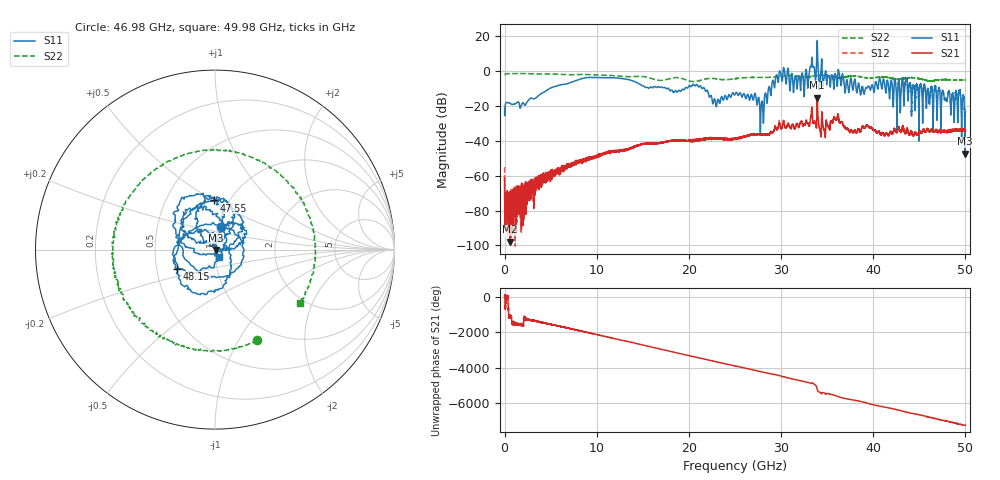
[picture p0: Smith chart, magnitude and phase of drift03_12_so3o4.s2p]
!Created with skrf (http://scikit-rf.org).
# Hz S RI R 50.0
!freq ReS11 ImS11 ReS21 ImS21 ReS12 ImS12 ReS22 ImS22
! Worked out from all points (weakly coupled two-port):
!   10001 points, 300 kHz to 50 GHz, reference 50 ohm
!   highest |S21| = -15.15 dB at 33.93 GHz (marker M1); lowest = -97.8 dB at 570.3 MHz (marker M2)
!   lowest |S11| = -47.4 dB at 49.95 GHz (marker M3), VSWR 1.01, Z = 50.4 - j0.241 ohm
!   |S11| at or under -10 dB: start of sweep to 4.849 GHz; 21.69 GHz to 28.62 GHz (6.933 GHz wide, 27.6 % of centre); 47.18 GHz to end of sweep (the widest 3 of 40)
!   |S22| runs from -5.9 to -1.3 dB; largest |S21 - S12| = 0.022
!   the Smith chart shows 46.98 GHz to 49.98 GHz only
!   S11 on the Smith chart (normalised r, x): 46.98 GHz: 1.03, +0.26; 47.55 GHz: 0.85, +0.51; 48.15 GHz: 0.64, -0.14; 49.98 GHz: 1.04, -0.09
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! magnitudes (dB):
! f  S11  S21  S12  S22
! 300 kHz  -21.5  -61.4  -55.1  -2.1
! 255.3 MHz  -17.9  -76.9  -72.2  -1.4
! 570.3 MHz  -18.4  -97.8  -73.8  -1.5
! 8.335 GHz  -4.3  -50.9  -51.3  -1.9
! 16.67 GHz  -8.8  -41.4  -41.4  -5.2
! 21.01 GHz  -8.7  -39.7  -39.3  -5.6
! 22.81 GHz  -16.1  -38.3  -38.6  -4.3
! 25 GHz  -13.4  -38.8  -38.6  -4.2
! 27.02 GHz  -15.7  -36.7  -36.3  -3.5
! 27.92 GHz  -17.1  -36.5  -36.4  -3.5
! 29.69 GHz  -6.5  -32.1  -31.7  -3.1
! 32.32 GHz  -1.5  -30.5  -30.7  -3.3
! 33.34 GHz  7.7  -20.8  -21.0  -2.9
! 33.93 GHz  17.6  -15.2  -15.5  -2.6
! 38.81 GHz  -8.9  -31.5  -31.9  -3.4
! 41.67 GHz  -9.0  -36.8  -36.9  -3.7
! 46.98 GHz  -17.8  -34.4  -34.8  -5.1
! 47.55 GHz  -11.2  -35.0  -34.5  -4.9
! 48.15 GHz  -12.5  -34.2  -34.3  -4.9
! 49.95 GHz  -47.4  -34.0  -34.4  -5.0
! 49.98 GHz  -26.6  -34.0  -34.1  -5.0
! 50 GHz  -22.9  -33.8  -34.0  -5.0
